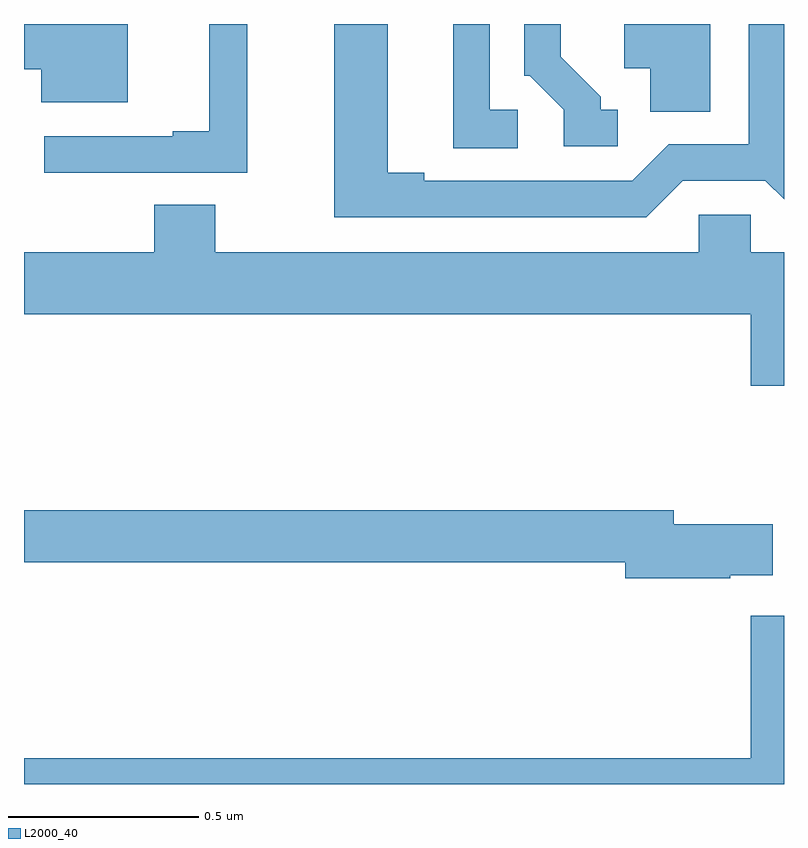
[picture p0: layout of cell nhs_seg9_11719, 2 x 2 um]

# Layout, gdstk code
import gdstk
lib = gdstk.Library(unit=1e-6, precision=1e-09)
def P(c, l, *ps):  # polygons
    for p in ps: c.add(gdstk.Polygon(p, *l))
L2000_40 = (2000, 40)

nhs_seg9_11719 = lib.new_cell('nhs_seg9_11719')
P(nhs_seg9_11719, L2000_40, [(259.273,1214.5),(259,1214.5),(259,1214.381),(259.046,1214.381),(259.046,1214.294),(259.273,1214.294)],
  [(260.806,1214.5),(260.579,1214.5),(260.579,1214.384),(260.648,1214.384),(260.648,1214.269),(260.806,1214.269)],
  [(259.587,1214.5),(259.487,1214.5),(259.487,1214.218),(259.391,1214.218),(259.391,1214.205),(259.053,1214.205),(259.053,1214.109),(259.587,1214.109)],
  [(260.299,1214.274),(260.226,1214.274),(260.226,1214.5),(260.129,1214.5),(260.129,1214.173),(260.299,1214.173)],
  [(260.563,1214.274),(260.518,1214.274),(260.518,1214.309),(260.413,1214.414),(260.413,1214.5),(260.316,1214.5),(260.316,1214.364),(260.331,1214.364),(260.421,1214.274),(260.421,1214.178),(260.563,1214.178)],
  [(260.733,1214.088),(260.951,1214.088),(261,1214.039),(261,1214.5),(260.907,1214.5),(260.907,1214.184),(260.697,1214.184),(260.601,1214.088),(260.053,1214.088),(260.053,1214.108),(259.957,1214.108),(259.957,1214.5),(259.817,1214.5),(259.817,1213.992),(260.637,1213.992)],
  [(261,1213.9),(260.913,1213.9),(260.913,1213.998),(260.775,1213.998),(260.775,1213.9),(259.503,1213.9),(259.503,1214.024),(259.343,1214.024),(259.343,1213.9),(259,1213.9),(259,1213.736),(260.912,1213.736),(260.912,1213.548),(261,1213.548)],
  [(260.858,1213.049),(260.971,1213.049),(260.971,1213.184),(260.71,1213.184),(260.71,1213.22),(259,1213.22),(259,1213.084),(260.582,1213.084),(260.582,1213.042),(260.858,1213.042)],
  [(261,1212.943),(260.912,1212.943),(260.912,1212.568),(259,1212.568),(259,1212.5),(261,1212.5)])

lib.write_gds('nhs_seg9_11719.gds')
